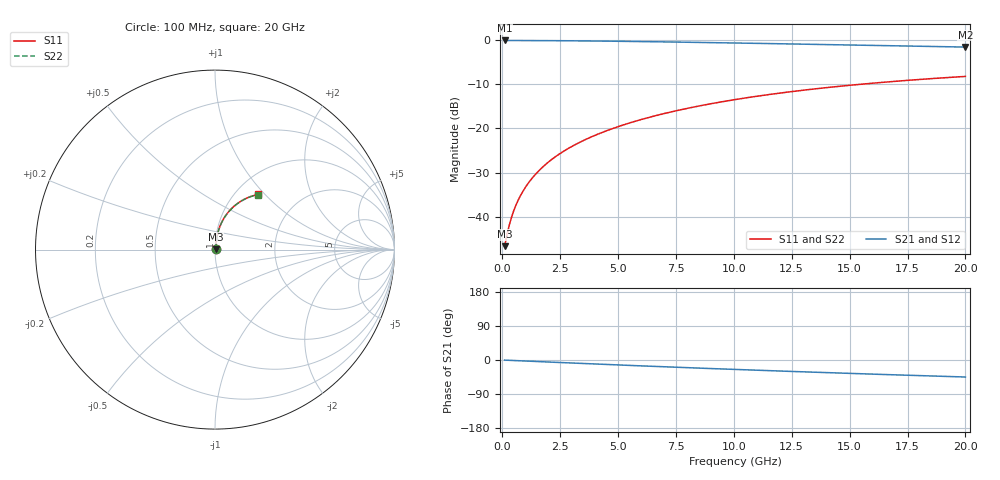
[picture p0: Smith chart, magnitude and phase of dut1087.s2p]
! Touchstone file exported from HFSS 2024.1.0
!  File:  C:/UserFiles/LocalFiles/RDL_TSV_Batchsim/temp_RDL_bottom_1087_1780053431.aedt
!  Generated:  07:19:41 PM May 29, 2026
!  Design:  RDL_bottom
!  Project:  temp_RDL_bottom_1087_1780053431
!  Setup:  Setup1
!  Solution:  Sweep
! Variables:
!  dtsv = 10.80580581um
!  hbump = 3um
!  htsv = 64.15um
!  ldown = 672.83um
!  lrdl = 100um
!  p = 40
!  p1 = 41.23um
!  rhole = 1um
!  t = 450um
!  tdown = 3.34um
!  trdl = 3.915915916um
!  wdown = 18.56um
!  wrdl = 20um
# GHz S MA R 50.000000
! Terminal data exported
! Port[1] = RDL1_T1
! Port[2] = RDL1_T2
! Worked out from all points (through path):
!   200 points, 100 MHz to 20 GHz, reference 50 ohm
!   highest |S21| = -0.03 dB at 100 MHz (marker M1); lowest = -1.5 dB at 20 GHz (marker M2)
!   group delay of S21, straight-line fit = 6.21 ps
!   lowest |S11| = -46.7 dB at 100 MHz (marker M3), VSWR 1.01, Z = 50.4 + j0.231 ohm
!   |S11| at or under -10 dB: start of sweep to 15.42 GHz
!   |S22| runs from -46.7 to -8.2 dB; largest |S21 - S12| = 3.4e-15
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0.1  0.004616 29.8  0.996 -0.3  0.996 -0.3  0.004616 29.8
! Gamma 0 0 0 0
! Port Impedance 50 0 50 0
0.2  0.006146 47.3  0.9958 -0.6  0.9958 -0.6  0.006146 47.3
0.3  0.007962 56.8  0.9956 -0.8  0.9956 -0.8  0.007962 56.8
0.4  0.009851 62.5  0.9954 -1.1  0.9954 -1.1  0.009851 62.5
0.5  0.01176 66.3  0.9952 -1.4  0.9952 -1.4  0.01176 66.3
0.6  0.01369 69.1  0.995 -1.6  0.995 -1.6  0.01369 69.1
0.8  0.01757 73.0  0.9946 -2.2  0.9946 -2.2  0.01757 73.0
1  0.02151 75.5  0.9942 -2.7  0.9942 -2.7  0.02151 75.5
1.2  0.02549 77.2  0.9937 -3.2  0.9937 -3.2  0.02549 77.2
1.4  0.02951 78.4  0.9932 -3.8  0.9932 -3.8  0.02951 78.4
1.7  0.03559 79.6  0.9924 -4.6  0.9924 -4.6  0.03559 79.6
2.2  0.04582 80.7  0.9907 -5.9  0.9907 -5.9  0.04582 80.7
2.8  0.05824 81.2  0.9882 -7.4  0.9882 -7.4  0.05823 81.1
3.5  0.07289 81.1  0.9846 -9.3  0.9846 -9.3  0.07287 81.0
4.2  0.08769 80.6  0.9805 -11.0  0.9805 -11.0  0.08765 80.6
5  0.1047 79.8  0.9751 -13.1  0.9751 -13.1  0.1047 79.7
6.8  0.1435 77.2  0.9612 -17.4  0.9612 -17.4  0.1433 77.1
8.4  0.1778 74.5  0.9474 -21.2  0.9474 -21.2  0.1776 74.4
10.1  0.2135 71.2  0.9318 -25.0  0.9318 -25.0  0.2133 71.1
13.4  0.2792 64.7  0.9004 -32.1  0.9004 -32.1  0.2788 64.6
16.7  0.3381 58.3  0.8687 -38.7  0.8687 -38.7  0.3375 58.1
20  0.3894 52.1  0.8378 -44.9  0.8378 -44.9  0.3886 52.0
